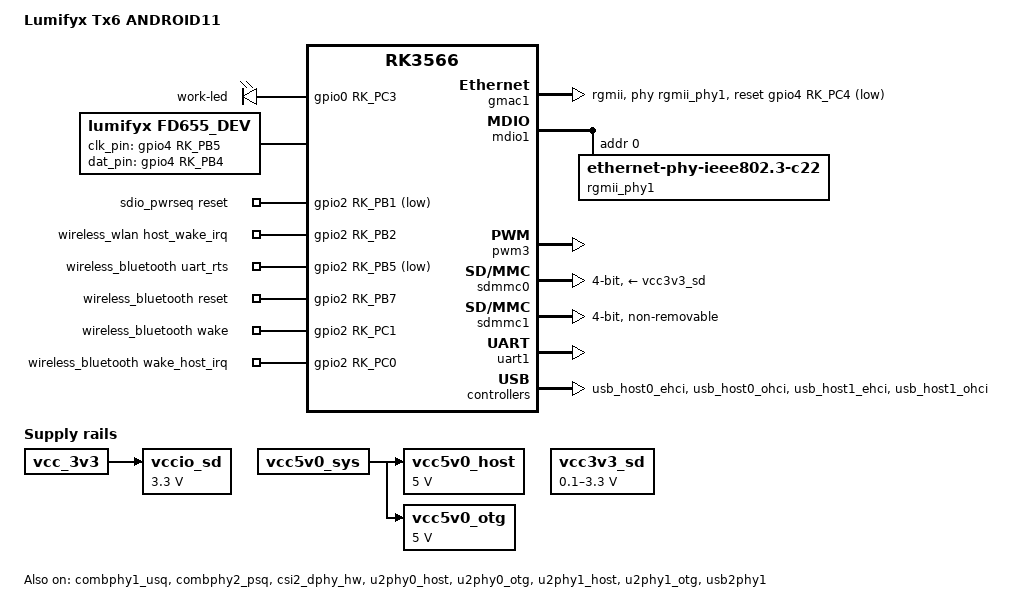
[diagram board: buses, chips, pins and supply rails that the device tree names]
// SPDX-License-Identifier: (GPL-2.0+ OR MIT)
/*
 * Copyright (c) 2020 Rockchip Electronics Co., Ltd.
 *
 */

/dts-v1/;

#include <dt-bindings/gpio/gpio.h>
#include <dt-bindings/display/media-bus-format.h>
#include <dt-bindings/pinctrl/rockchip.h>
#include "rk3566.dtsi"
#include "rk3566-tablet-lumifyx-tx6.dtsi"
#include "rk3568-android.dtsi"

/ {
	model = "Lumifyx Tx6 ANDROID11";
	compatible = "lumifyx,tx6", "rockchip,rk3566";

	gpio-leds {
        compatible = "gpio-leds";

        work-led {
            lable = "sysled";
            gpios = <&gpio0 RK_PC3 GPIO_ACTIVE_HIGH>;
            linux,default-trigger = "timer";
            default-state = "on";
        };
    };

	 fd655_dev{
        compatible = "lumifyx,fd655_dev";
        clk_pin = <&gpio4 RK_PB5 GPIO_ACTIVE_HIGH>;
        dat_pin = <&gpio4 RK_PB4 GPIO_ACTIVE_HIGH>;
        pinctrl-names = "default";
        pinctrl-0 = <&fd655_clk_pin &fd655_dat_pin>;
        status = "okay";
    };

    sdio_pwrseq: sdio-pwrseq {
        compatible = "mmc-pwrseq-simple";
        clocks = <&pmucru CLK_RTC_32K>;
        clock-names = "ext_clock";
        pinctrl-names = "default";
        pinctrl-0 = <&wifi_enable_h &wifi_32k>;
        reset-gpios = <&gpio2 RK_PB1 GPIO_ACTIVE_LOW>;
        states="okay";
    };

	vcc3v3_sd: vcc3v3-sd-regulator {
        compatible = "regulator-gpio";
        regulator-name = "vcc3v3_sd";
        regulator-min-microvolt = <100000>;
        regulator-max-microvolt = <3300000>;
        gpios = <&gpio0 RK_PA5 GPIO_ACTIVE_HIGH>;
        gpios-states = <0x1>;
        states = <100000 0x1
              3300000 0x0>;
    };
	
	 vccio_sd: vccio-sd-regulator {
        compatible = "regulator-fixed";
        regulator-name = "vccio_sd";
        regulator-always-on;
                regulator-boot-on;
        regulator-min-microvolt = <3300000>;
        regulator-max-microvolt = <3300000>;
        vin-supply = <&vcc_3v3>;
    };

    vcc5v0_host: vcc5v0-host-regulator {
        compatible = "regulator-fixed";
        regulator-name = "vcc5v0_host";
        regulator-always-on;
                regulator-boot-on;
                regulator-min-microvolt = <5000000>;
                regulator-max-microvolt = <5000000>;
                vin-supply = <&vcc5v0_sys>;
    };

    vcc5v0_otg: vcc5v0-otg-regulator {
        compatible = "regulator-fixed";
        regulator-name = "vcc5v0_otg";
        regulator-always-on;
                regulator-boot-on;
                regulator-min-microvolt = <5000000>;
                regulator-max-microvolt = <5000000>;
        vin-supply = <&vcc5v0_sys>;
    };

	wireless_wlan: wireless-wlan {
        compatible = "wlan-platdata";
        rockchip,grf = <&grf>;
        wifi_chip_type = "ap6398s";
        pinctrl-names = "default";
        pinctrl-0 = <&wifi_host_wake_irq>;
        WIFI,host_wake_irq = <&gpio2 RK_PB2 GPIO_ACTIVE_HIGH>;
        status = "okay";
    };

    wireless_bluetooth: wireless-bluetooth {
        compatible = "bluetooth-platdata";
        clocks = <&pmucru CLK_RTC_32K>;
        clock-names = "ext_clock";
        //wifi-bt-power-toggle;
        uart_rts_gpios = <&gpio2 RK_PB5 GPIO_ACTIVE_LOW>;
        pinctrl-names = "default", "rts_gpio";
        pinctrl-0 = <&uart1m0_rtsn>;
        pinctrl-1 = <&uart1_gpios>;
        BT,reset_gpio    = <&gpio2 RK_PB7 GPIO_ACTIVE_HIGH>;
        BT,wake_gpio     = <&gpio2 RK_PC1 GPIO_ACTIVE_HIGH>;
        BT,wake_host_irq = <&gpio2 RK_PC0 GPIO_ACTIVE_HIGH>;
        status = "okay";
    };

	
};

&combphy1_usq {
	status = "okay";
};

&combphy2_psq {
	status = "okay";
};

&csi2_dphy_hw {
	status = "okay";
};

&gmac1 {
    phy-mode = "rgmii";
    clock_in_out = "output";

    snps,reset-gpio = <&gpio4 RK_PC4 GPIO_ACTIVE_LOW>;
    snps,reset-active-low;
    /* Reset time is 20ms, 100ms for rtl8211f */
    snps,reset-delays-us = <0 20000 100000>;

    assigned-clocks = <&cru SCLK_GMAC1_RX_TX>, <&cru SCLK_GMAC1>, <&cru CLK_MAC1_OUT>;
    assigned-clock-parents =  <&cru SCLK_GMAC1_RGMII_SPEED>, <&gmac1_clkin>;
    assigned-clock-rates = <0>, <125000000>, <25000000>;
    pinctrl-names = "default";
    pinctrl-0 = <&gmac1m1_miim
             &gmac1m1_tx_bus2
             &gmac1m1_rx_bus2
             &gmac1m1_rgmii_clk
             &gmac1m1_rgmii_bus
             &eth1m1_pins
             &gmac1m1_clkinout>;

    tx_delay = <0x4f>;
    rx_delay = <0x2d>;

    phy-handle = <&rgmii_phy1>;
    status = "okay";
};

&i2c2{
    status = "disabled";
};

&mdio1 {
    rgmii_phy1: phy@0 {
        compatible = "ethernet-phy-ieee802.3-c22";
        reg = <0x0>;
        clocks = <&cru CLK_MAC1_OUT>;
    };
};
&pwm3 {
    compatible = "rockchip,remotectl-pwm";
    pinctrl-names = "default";
    pinctrl-0 = <&pwm3_pins>;
    remote_pwm_id = <3>;
    handle_cpu_id = <1>;
    remote_support_psci = <0>;
    status = "okay";

    ir_key1 {
        rockchip,usercode = <0xfe01>;
        rockchip,key_table =
        <0xee   KEY_HOME>,
        <0xe6   KEY_BACK>,
    /*      <0xb3   KEY_MENU>,*/
        <0xec   KEY_ENTER>,
        <0xe9   KEY_UP>,
        <0xe5   KEY_DOWN>,
        <0xae   KEY_LEFT>,
        <0xaf   KEY_RIGHT>,
        <0xef   KEY_VOLUMEDOWN>,
        <0xe7   KEY_VOLUMEUP>,
        <0xbe   KEY_MUTE>,
        <0xb3   KEY_MUTE>,
        <0xbf   KEY_POWER>,
        <0xbc   141>,//settings
		/*  <0xff   388>,*/
        <0xf8   388>,
        <0xb1   KEY_1>,
        <0xf2   KEY_2>,
        <0xf3   KEY_3>,
        <0xb5   KEY_4>,
        <0xf6   KEY_5>,
        <0xf7   KEY_6>,
        <0xb9   KEY_7>,
        <0xfa   KEY_8>,
        <0xfb   KEY_9>,
        <0xfe   KEY_0>,
        <0xbd   KEY_BACKSPACE>;
    };
};

/* Need to be modified according to the actual hardware */
&pmu_io_domains {
    status = "okay";
    pmuio2-supply = <&vcc3v3_sys>;
    vccio1-supply = <&vcc_3v3>;
    vccio3-supply = <&vcc_3v3>;
    vccio4-supply = <&vcc_1v8>;
    vccio5-supply = <&vcc3v3_sys>;
    vccio6-supply = <&vcc_1v8>;
    vccio7-supply = <&vcc_3v3>;
};

&sata2 {
    status = "disabled";
};

&i2c2 {
	status = "disabled";
};

&sdmmc0 {
    max-frequency = <50000000>;
    supports-sd;
    bus-width = <4>;
    cap-mmc-highspeed;
    cap-sd-highspeed;
    disable-wp;
    //sd-uhs-sdr104;
    vmmc-supply = <&vcc3v3_sd>;
    vqmmc-supply = <&vccio_sd>;
    pinctrl-names = "default";
    pinctrl-0 = <&sdmmc0_bus4 &sdmmc0_clk &sdmmc0_cmd &sdmmc0_det>;
    status = "okay";
};

&sdmmc2 {
	status = "disabled";
};

&sdmmc1 {
	max-frequency = <100000000>;
	supports-sdio;
	bus-width = <4>;
	disable-wp;
	cap-sd-highspeed;
	cap-sdio-irq;
	keep-power-in-suspend;
	mmc-pwrseq = <&sdio_pwrseq>;
	non-removable;
	pinctrl-names = "default";
	pinctrl-0 = <&sdmmc1_bus4 &sdmmc1_cmd &sdmmc1_clk>;
	sd-uhs-sdr104;
	status = "okay";
};

&uart1 {
    status = "okay";
    pinctrl-names = "default";
    pinctrl-0 = <&uart1m0_xfer &uart1m0_ctsn>;
};

&u2phy0_host {
    phy-supply = <&vcc5v0_host>;
    status = "okay";
};

&u2phy0_otg {
    vbus-supply = <&vcc5v0_otg>;
    status = "okay";
};

&u2phy1_host {
    phy-supply = <&vcc5v0_host>;
    status = "okay";
};

&u2phy1_otg {
    phy-supply = <&vcc5v0_host>;
    status = "okay";
};

&usb2phy1 {
    status = "okay";
};

&usb_host0_ehci {
    status = "okay";
};

&usb_host0_ohci {
    status = "okay";
};

&usb_host1_ehci {
    status = "okay";
};

&usb_host1_ohci {
    status = "okay";
};

&pinctrl {

    sdio-pwrseq {
        wifi_enable_h: wifi-enable-h {
            rockchip,pins = <2 RK_PB1 RK_FUNC_GPIO &pcfg_pull_none>;
        };

        wifi_32k: wifi-32k {
            rockchip,pins = <2 RK_PC6 1 &pcfg_pull_none>;
        };
    };

    wireless-wlan {
        wifi_host_wake_irq: wifi-host-wake-irq {
            rockchip,pins = <2 RK_PB2 RK_FUNC_GPIO &pcfg_pull_down>;
        };
    };

    wireless-bluetooth {
        uart1_gpios: uart1-gpios {
            rockchip,pins = <2 RK_PB5 RK_FUNC_GPIO &pcfg_pull_none>;
        };
    };

 	fd655-dev {
         fd655_clk_pin: fd655-clk-pin {
            rockchip,pins = <4 RK_PB5 RK_FUNC_GPIO &pcfg_pull_none>;
        };
        fd655_dat_pin: fd655-dat-pin {
            rockchip,pins = <4 RK_PB4 RK_FUNC_GPIO &pcfg_pull_none>;
        };
    };
};

